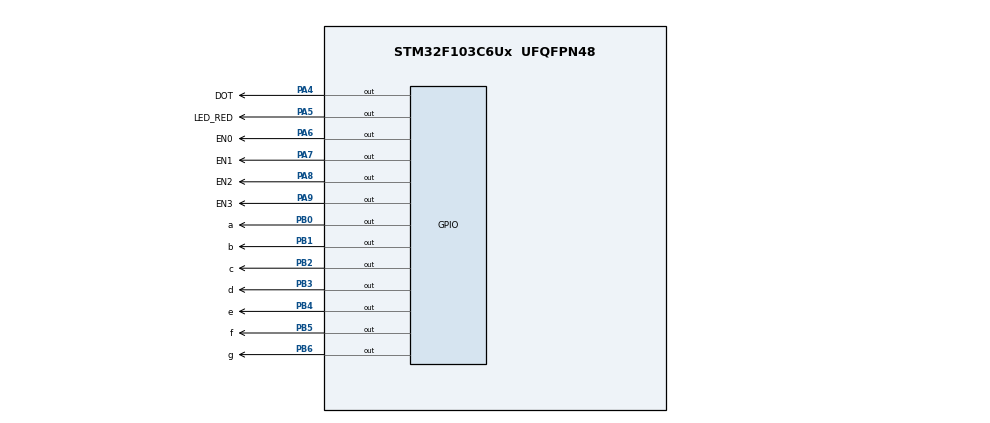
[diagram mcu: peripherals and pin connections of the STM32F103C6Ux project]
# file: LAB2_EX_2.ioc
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Mcu.Family=STM32F1
Mcu.Name=STM32F103C6Ux
Mcu.Package=UFQFPN48
NVIC.PriorityGroup=NVIC_PRIORITYGROUP_4
NVIC.TIM2_IRQn=true\:0\:0\:false\:false\:true\:true\:true
PA4.GPIO_Label=DOT
PA4.Signal=GPIO_Output
PA5.GPIO_Label=LED_RED
PA5.Signal=GPIO_Output
PA6.GPIO_Label=EN0
PA6.Signal=GPIO_Output
PA7.GPIO_Label=EN1
PA7.Signal=GPIO_Output
PA8.GPIO_Label=EN2
PA8.Signal=GPIO_Output
PA9.GPIO_Label=EN3
PA9.Signal=GPIO_Output
PB0.GPIO_Label=a
PB0.Signal=GPIO_Output
PB1.GPIO_Label=b
PB1.Signal=GPIO_Output
PB2.GPIO_Label=c
PB2.Signal=GPIO_Output
PB3.GPIO_Label=d
PB3.Signal=GPIO_Output
PB4.GPIO_Label=e
PB4.Signal=GPIO_Output
PB5.GPIO_Label=f
PB5.Signal=GPIO_Output
PB6.GPIO_Label=g
PB6.Signal=GPIO_Output
ProjectManager.HeapSize=0x200
ProjectManager.StackSize=0x400
ProjectManager.TargetToolchain=STM32CubeIDE
RCC.APB1Freq_Value=8000000
RCC.APB2Freq_Value=8000000
TIM2.Period=9
TIM2.Prescaler=7999
VP_SYS_VS_ND.Mode=No_Debug
VP_TIM2_VS_ClockSourceINT.Mode=Internal
board=custom

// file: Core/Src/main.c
/* USER CODE BEGIN Header */
/**
  ******************************************************************************
  * @file           : main.c
  * @brief          : Main program body
  ******************************************************************************
  * @attention
  *
  * <h2><center>&copy; Copyright (c) 2025 STMicroelectronics.
  * All rights reserved.</center></h2>
  *
  * This software component is licensed by ST under BSD 3-Clause license,
  * the "License"; You may not use this file except in compliance with the
  * License. You may obtain a copy of the License at:
  *                        opensource.org/licenses/BSD-3-Clause
  *
  ******************************************************************************
  */
/* USER CODE END Header */
#include "main.h"

TIM_HandleTypeDef htim2;

/* USER CODE BEGIN PV */
const int MAX_LED = 4;
int index_led = 0;
int led_buffer[4] = {1, 2, 3, 0};
int hour = 15;
int minute = 58;
int second = 50;
const uint8_t LED7SEG_CODES[10] = {
    0xC0, // 0: 1100 0000
    0xF9, // 1: 1111 1001
    0xA4, // 2: 1010 0100
    0xB0, // 3: 1011 0000
    0x99, // 4: 1001 1001
    0x92, // 5: 1001 0010
    0x82, // 6: 1000 0010
    0xF8, // 7: 1111 1000
    0x80, // 8: 1000 0000
    0x90  // 9: 1001 0000
};
/* USER CODE END PV */

void SystemClock_Config(void);
static void MX_GPIO_Init(void);
static void MX_TIM2_Init(void);

/* USER CODE BEGIN 0 */
void display7SEG(int num)
{
  if (num < 0 || num > 9) return;

  uint8_t code = LED7SEG_CODES[num];

  for (int i = 0; i < 7; i++)
  {
    GPIO_PinState state = ((code >> i) & 0x01) ? GPIO_PIN_SET : GPIO_PIN_RESET;
    HAL_GPIO_WritePin(GPIOB, (uint16_t)(1 << i), state);
  }
}

void update7SEG(int index) {
	index = index % MAX_LED;
    HAL_GPIO_WritePin(GPIOA, EN0_Pin | EN1_Pin | EN2_Pin | EN3_Pin, GPIO_PIN_SET);
    switch (index) {
        case 0:
            // Display the first 7SEG with led_buffer[0]
            display7SEG(led_buffer[0]);
            HAL_GPIO_WritePin(EN0_GPIO_Port, EN0_Pin, GPIO_PIN_RESET);
            break;
        case 1:
            // Display the second 7SEG with led_buffer[1]
            display7SEG(led_buffer[1]);
            HAL_GPIO_WritePin(EN1_GPIO_Port, EN1_Pin, GPIO_PIN_RESET);
            break;
        case 2:
            // Display the third 7SEG with led_buffer[2]
            display7SEG(led_buffer[2]);
            HAL_GPIO_WritePin(EN2_GPIO_Port, EN2_Pin, GPIO_PIN_RESET);
            break;
        case 3:
            // Display the fourth 7SEG with led_buffer[3]
            display7SEG(led_buffer[3]);
            HAL_GPIO_WritePin(EN3_GPIO_Port, EN3_Pin, GPIO_PIN_RESET);
            break;
        default:
            break;
    }
}
void updateClockBuffer() {
   led_buffer[0] = hour / 10;
   led_buffer[1] = hour % 10;
   led_buffer[2] = minute / 10;
   led_buffer[3] = minute % 10;
}
/* USER CODE END 0 */

int main(void)
{

  /* MCU Configuration--------------------------------------------------------*/

  /* Reset of all peripherals, Initializes the Flash interface and the Systick. */
  HAL_Init();

  /* Configure the system clock */
  SystemClock_Config();

  /* Initialize all configured peripherals */
  MX_GPIO_Init();
  MX_TIM2_Init();
  /* USER CODE BEGIN 2 */
  HAL_TIM_Base_Start_IT (& htim2 );
  /* USER CODE END 2 */

  /* Infinite loop */
  /* USER CODE BEGIN WHILE */
  while (1)
  {
	  second ++;
	  if ( second >= 60) {
		  second = 0;
		  minute ++;
	  }
	  if( minute >= 60) {
		  minute = 0;
		  hour ++;
	  }
	  if( hour >=24) {
		  hour = 0;
	  }
	  updateClockBuffer() ;
	  HAL_Delay (100) ;
    /* USER CODE END WHILE */

  }
}

void SystemClock_Config(void)
{
  RCC_OscInitTypeDef RCC_OscInitStruct = {0};
  RCC_ClkInitTypeDef RCC_ClkInitStruct = {0};

  /** Initializes the RCC Oscillators according to the specified parameters
  * in the RCC_OscInitTypeDef structure.
  */
  RCC_OscInitStruct.OscillatorType = RCC_OSCILLATORTYPE_HSI;
  RCC_OscInitStruct.HSIState = RCC_HSI_ON;
  RCC_OscInitStruct.HSICalibrationValue = RCC_HSICALIBRATION_DEFAULT;
  RCC_OscInitStruct.PLL.PLLState = RCC_PLL_NONE;
  if (HAL_RCC_OscConfig(&RCC_OscInitStruct) != HAL_OK)
  {
    Error_Handler();
  }
  /** Initializes the CPU, AHB and APB buses clocks
  */
  RCC_ClkInitStruct.ClockType = RCC_CLOCKTYPE_HCLK|RCC_CLOCKTYPE_SYSCLK
                              |RCC_CLOCKTYPE_PCLK1|RCC_CLOCKTYPE_PCLK2;
  RCC_ClkInitStruct.SYSCLKSource = RCC_SYSCLKSOURCE_HSI;
  RCC_ClkInitStruct.AHBCLKDivider = RCC_SYSCLK_DIV1;
  RCC_ClkInitStruct.APB1CLKDivider = RCC_HCLK_DIV1;
  RCC_ClkInitStruct.APB2CLKDivider = RCC_HCLK_DIV1;

  if (HAL_RCC_ClockConfig(&RCC_ClkInitStruct, FLASH_LATENCY_0) != HAL_OK)
  {
    Error_Handler();
  }
}

static void MX_TIM2_Init(void)
{

  TIM_ClockConfigTypeDef sClockSourceConfig = {0};
  TIM_MasterConfigTypeDef sMasterConfig = {0};

  htim2.Instance = TIM2;
  htim2.Init.Prescaler = 7999;
  htim2.Init.CounterMode = TIM_COUNTERMODE_UP;
  htim2.Init.Period = 9;
  htim2.Init.ClockDivision = TIM_CLOCKDIVISION_DIV1;
  htim2.Init.AutoReloadPreload = TIM_AUTORELOAD_PRELOAD_DISABLE;
  if (HAL_TIM_Base_Init(&htim2) != HAL_OK)
  {
    Error_Handler();
  }
  sClockSourceConfig.ClockSource = TIM_CLOCKSOURCE_INTERNAL;
  if (HAL_TIM_ConfigClockSource(&htim2, &sClockSourceConfig) != HAL_OK)
  {
    Error_Handler();
  }
  sMasterConfig.MasterOutputTrigger = TIM_TRGO_RESET;
  sMasterConfig.MasterSlaveMode = TIM_MASTERSLAVEMODE_DISABLE;
  if (HAL_TIMEx_MasterConfigSynchronization(&htim2, &sMasterConfig) != HAL_OK)
  {
    Error_Handler();
  }

}

static void MX_GPIO_Init(void)
{
  GPIO_InitTypeDef GPIO_InitStruct = {0};

  /* GPIO Ports Clock Enable */
  __HAL_RCC_GPIOA_CLK_ENABLE();
  __HAL_RCC_GPIOB_CLK_ENABLE();

  /*Configure GPIO pin Output Level */
  HAL_GPIO_WritePin(GPIOA, DOT_Pin|LED_RED_Pin|EN0_Pin|EN1_Pin
                          |EN2_Pin|EN3_Pin, GPIO_PIN_RESET);

  /*Configure GPIO pin Output Level */
  HAL_GPIO_WritePin(GPIOB, a_Pin|b_Pin|c_Pin|d_Pin
                          |e_Pin|f_Pin|g_Pin, GPIO_PIN_RESET);

  /*Configure GPIO pins : DOT_Pin LED_RED_Pin EN0_Pin EN1_Pin
                           EN2_Pin EN3_Pin */
  GPIO_InitStruct.Pin = DOT_Pin|LED_RED_Pin|EN0_Pin|EN1_Pin
                          |EN2_Pin|EN3_Pin;
  GPIO_InitStruct.Mode = GPIO_MODE_OUTPUT_PP;
  GPIO_InitStruct.Pull = GPIO_NOPULL;
  GPIO_InitStruct.Speed = GPIO_SPEED_FREQ_LOW;
  HAL_GPIO_Init(GPIOA, &GPIO_InitStruct);

  /*Configure GPIO pins : a_Pin b_Pin c_Pin d_Pin
                           e_Pin f_Pin g_Pin */
  GPIO_InitStruct.Pin = a_Pin|b_Pin|c_Pin|d_Pin
                          |e_Pin|f_Pin|g_Pin;
  GPIO_InitStruct.Mode = GPIO_MODE_OUTPUT_PP;
  GPIO_InitStruct.Pull = GPIO_NOPULL;
  GPIO_InitStruct.Speed = GPIO_SPEED_FREQ_LOW;
  HAL_GPIO_Init(GPIOB, &GPIO_InitStruct);

}

/* USER CODE BEGIN 4 */
int counter = 25;
void HAL_TIM_PeriodElapsedCallback(TIM_HandleTypeDef *htim)
{
  if (htim->Instance == TIM2)
  {
	  counter--;
	  if (counter <= 0) {
	      counter = 25;
	      static GPIO_PinState dot_state = GPIO_PIN_RESET;
	      static GPIO_PinState led_state = GPIO_PIN_RESET;
	      static int blink_count = 0;
	      update7SEG(index_led++);
	      index_led = index_led % MAX_LED;
          blink_count++;
          if (blink_count % 4 == 0) {
        	  dot_state = (dot_state == GPIO_PIN_RESET) ? GPIO_PIN_SET : GPIO_PIN_RESET;
              HAL_GPIO_WritePin(DOT_GPIO_Port, DOT_Pin, dot_state);
          }

          led_state = (led_state == GPIO_PIN_RESET) ? GPIO_PIN_SET : GPIO_PIN_RESET;
          HAL_GPIO_WritePin(LED_RED_GPIO_Port, LED_RED_Pin, led_state);
    }
  }
}

/* USER CODE END 4 */

void Error_Handler(void)
{
  __disable_irq();
  while (1)
  {
  }
}

/************************ (C) COPYRIGHT STMicroelectronics *****END OF FILE****/
